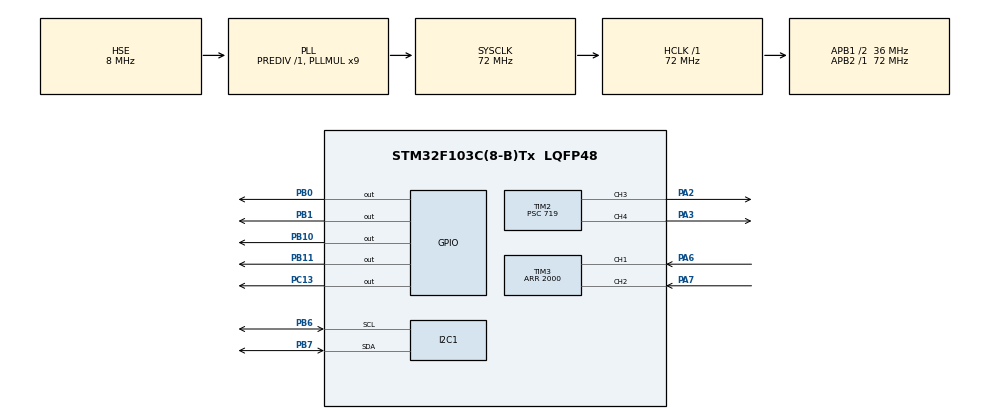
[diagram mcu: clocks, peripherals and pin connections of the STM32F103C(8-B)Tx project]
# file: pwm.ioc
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I2C1.I2C_Mode=I2C_Fast
Mcu.Family=STM32F1
Mcu.Name=STM32F103C(8-B)Tx
Mcu.Package=LQFP48
NVIC.PriorityGroup=NVIC_PRIORITYGROUP_4
NVIC.TIM1_UP_IRQn=true\:0\:0\:false\:false\:true\:true\:true
PA13.Mode=Serial_Wire
PA13.Signal=SYS_JTMS-SWDIO
PA14.Mode=Serial_Wire
PA14.Signal=SYS_JTCK-SWCLK
PA2.Signal=S_TIM2_CH3
PA3.Signal=S_TIM2_CH4
PA6.Signal=S_TIM3_CH1
PA7.Signal=S_TIM3_CH2
PB0.Signal=GPIO_Output
PB1.Signal=GPIO_Output
PB10.Signal=GPIO_Output
PB11.Signal=GPIO_Output
PB6.Mode=I2C
PB6.Signal=I2C1_SCL
PB7.Mode=I2C
PB7.Signal=I2C1_SDA
PC13-TAMPER-RTC.Signal=GPIO_Output
PD0-OSC_IN.Mode=HSE-External-Oscillator
PD0-OSC_IN.Signal=RCC_OSC_IN
PD1-OSC_OUT.Mode=HSE-External-Oscillator
PD1-OSC_OUT.Signal=RCC_OSC_OUT
ProjectManager.HeapSize=0x200
ProjectManager.StackSize=0x400
ProjectManager.TargetToolchain=STM32CubeIDE
RCC.AHBFreq_Value=72000000
RCC.APB1CLKDivider=RCC_HCLK_DIV2
RCC.APB1Freq_Value=36000000
RCC.APB1TimFreq_Value=72000000
RCC.APB2Freq_Value=72000000
RCC.APB2TimFreq_Value=72000000
RCC.HCLKFreq_Value=72000000
RCC.PLLMUL=RCC_PLL_MUL9
RCC.PLLSourceVirtual=RCC_PLLSOURCE_HSE
RCC.SYSCLKFreq_VALUE=72000000
RCC.SYSCLKSource=RCC_SYSCLKSOURCE_PLLCLK
RCC.USBFreq_Value=72000000
SH.S_TIM2_CH3.0=TIM2_CH3,PWM Generation3 CH3
SH.S_TIM2_CH4.0=TIM2_CH4,PWM Generation4 CH4
SH.S_TIM3_CH1.0=TIM3_CH1,Encoder_Interface
SH.S_TIM3_CH2.0=TIM3_CH2,Encoder_Interface
TIM1.Period=100
TIM1.Prescaler=719
TIM2.Channel-PWM\ Generation3\ CH3=TIM_CHANNEL_3
TIM2.Channel-PWM\ Generation4\ CH4=TIM_CHANNEL_4
TIM2.Period=32
TIM2.Prescaler=719
TIM3.Period=2000
VP_TIM1_VS_ClockSourceINT.Mode=Internal
board=custom

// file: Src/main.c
/* USER CODE BEGIN Header */
/**
  ******************************************************************************
  * @file           : main.c
  * @brief          : Main program body
  ******************************************************************************
  * @attention
  *
  * <h2><center>&copy; Copyright (c) 2019 STMicroelectronics.
  * All rights reserved.</center></h2>
  *
  * This software component is licensed by ST under BSD 3-Clause license,
  * the "License"; You may not use this file except in compliance with the
  * License. You may obtain a copy of the License at:
  *                        opensource.org/licenses/BSD-3-Clause
  *
  ******************************************************************************
  */
/* USER CODE END Header */

#include "main.h"

/* USER CODE BEGIN Includes */
#include "mpu6050.h"
#include "PID.h"
/* USER CODE END Includes */

I2C_HandleTypeDef hi2c1;

TIM_HandleTypeDef htim1;
TIM_HandleTypeDef htim2;
TIM_HandleTypeDef htim3;

void SystemClock_Config(void);
static void MX_GPIO_Init(void);
static void MX_TIM2_Init(void);
static void MX_TIM3_Init(void);
static void MX_I2C1_Init(void);
static void MX_TIM1_Init(void);

/* USER CODE BEGIN 0 */

    volatile int duty = 36;
    volatile int duty_1 = 36;
    int pwm = 0;
	void PWM_Control_1(float duty){

		if(duty > 0){

		  HAL_GPIO_WritePin(GPIOB,GPIO_PIN_10,GPIO_PIN_RESET);
		  HAL_GPIO_WritePin(GPIOB,GPIO_PIN_11,GPIO_PIN_SET);

		}
		else{
			duty = -duty;
		  HAL_GPIO_WritePin(GPIOB,GPIO_PIN_10,GPIO_PIN_SET);
		  HAL_GPIO_WritePin(GPIOB,GPIO_PIN_11,GPIO_PIN_RESET);
		}

		  __HAL_TIM_SET_COMPARE(&htim2, TIM_CHANNEL_3, duty  );

	}

	void PWM_Control_2(float duty){
		if(duty > 0){

			  HAL_GPIO_WritePin(GPIOB,GPIO_PIN_1,GPIO_PIN_SET);
			  HAL_GPIO_WritePin(GPIOB,GPIO_PIN_0,GPIO_PIN_RESET);

		}
		else{
			duty = -duty;
		  HAL_GPIO_WritePin(GPIOB,GPIO_PIN_1,GPIO_PIN_RESET);
		  HAL_GPIO_WritePin(GPIOB,GPIO_PIN_0,GPIO_PIN_SET);
		}
		__HAL_TIM_SET_COMPARE(&htim2, TIM_CHANNEL_4, duty );

	}

	  void HAL_TIM_PeriodElapsedCallback(TIM_HandleTypeDef *htim)
	  {
	      if (__HAL_TIM_GET_IT_SOURCE(&htim1,TIM_IT_UPDATE)) {
	    	 // pre_com_angle = com_angle; // đạo hàm, lúc trước khi lấy mẫu cái hiện tại đã thành cái mới
	    	  process_MPU();
//	    	  float angle_1 = (com_angle-2.4);

	    	  duty = PID((0),com_angle);
	    	  	  PWM_Control_1(duty);
	    	  	  PWM_Control_2(duty);
	    	  if((com_angle>60)||(com_angle<(-60)))
	    			  {
	    		  PWM_Control_1(0);
	    		  PWM_Control_2(0);
	    			  }

	  }
	  }
/* USER CODE END 0 */

int main(void)
{

  /* MCU Configuration--------------------------------------------------------*/

  /* Reset of all peripherals, Initializes the Flash interface and the Systick. */  HAL_Init();

  /* Configure the system clock */
  SystemClock_Config();

  /* Initialize all configured peripherals */
  MX_GPIO_Init();
  MX_TIM2_Init();
  MX_TIM3_Init();
  MX_I2C1_Init();
  MX_TIM1_Init();

  /* Infinite loop */
  /* USER CODE BEGIN WHILE */
  HAL_TIM_PWM_Start(&htim2,TIM_CHANNEL_3);
  HAL_TIM_PWM_Start(&htim2,TIM_CHANNEL_4);
  HAL_TIM_Base_Start_IT(&htim1);
  //HAL_TIM_Encoder_Start(&htim3,TIM_CHANNEL_1);
  //HAL_TIM_Encoder_Start(&htim3,TIM_CHANNEL_2);
  HAL_Delay(2000);
 init_MPU();
  while (1)
  {

    /* USER CODE END WHILE */
    /* USER CODE BEGIN 3 */
//if((com_angle<(-4))||((4)<com_angle))
//{

//}
  }
  /* USER CODE END 3 */
}

void SystemClock_Config(void)
{
  RCC_OscInitTypeDef RCC_OscInitStruct = {0};
  RCC_ClkInitTypeDef RCC_ClkInitStruct = {0};

  /** Initializes the CPU, AHB and APB busses clocks
  */
  RCC_OscInitStruct.OscillatorType = RCC_OSCILLATORTYPE_HSE;
  RCC_OscInitStruct.HSEState = RCC_HSE_ON;
  RCC_OscInitStruct.HSEPredivValue = RCC_HSE_PREDIV_DIV1;
  RCC_OscInitStruct.HSIState = RCC_HSI_ON;
  RCC_OscInitStruct.PLL.PLLState = RCC_PLL_ON;
  RCC_OscInitStruct.PLL.PLLSource = RCC_PLLSOURCE_HSE;
  RCC_OscInitStruct.PLL.PLLMUL = RCC_PLL_MUL9;
  if (HAL_RCC_OscConfig(&RCC_OscInitStruct) != HAL_OK)
  {
    Error_Handler();
  }
  /** Initializes the CPU, AHB and APB busses clocks
  */
  RCC_ClkInitStruct.ClockType = RCC_CLOCKTYPE_HCLK|RCC_CLOCKTYPE_SYSCLK
                              |RCC_CLOCKTYPE_PCLK1|RCC_CLOCKTYPE_PCLK2;
  RCC_ClkInitStruct.SYSCLKSource = RCC_SYSCLKSOURCE_PLLCLK;
  RCC_ClkInitStruct.AHBCLKDivider = RCC_SYSCLK_DIV1;
  RCC_ClkInitStruct.APB1CLKDivider = RCC_HCLK_DIV2;
  RCC_ClkInitStruct.APB2CLKDivider = RCC_HCLK_DIV1;

  if (HAL_RCC_ClockConfig(&RCC_ClkInitStruct, FLASH_LATENCY_2) != HAL_OK)
  {
    Error_Handler();
  }
}

static void MX_I2C1_Init(void)
{

  hi2c1.Instance = I2C1;
  hi2c1.Init.ClockSpeed = 400000;
  hi2c1.Init.DutyCycle = I2C_DUTYCYCLE_2;
  hi2c1.Init.OwnAddress1 = 0;
  hi2c1.Init.AddressingMode = I2C_ADDRESSINGMODE_7BIT;
  hi2c1.Init.DualAddressMode = I2C_DUALADDRESS_DISABLE;
  hi2c1.Init.OwnAddress2 = 0;
  hi2c1.Init.GeneralCallMode = I2C_GENERALCALL_DISABLE;
  hi2c1.Init.NoStretchMode = I2C_NOSTRETCH_DISABLE;
  if (HAL_I2C_Init(&hi2c1) != HAL_OK)
  {
    Error_Handler();
  }

}

static void MX_TIM1_Init(void)
{

  TIM_ClockConfigTypeDef sClockSourceConfig = {0};
  TIM_MasterConfigTypeDef sMasterConfig = {0};

  htim1.Instance = TIM1;
  htim1.Init.Prescaler = 7199;
  htim1.Init.CounterMode = TIM_COUNTERMODE_UP;
  htim1.Init.Period = 11;
  htim1.Init.ClockDivision = TIM_CLOCKDIVISION_DIV1;
  htim1.Init.RepetitionCounter = 0;
  htim1.Init.AutoReloadPreload = TIM_AUTORELOAD_PRELOAD_DISABLE;
  if (HAL_TIM_Base_Init(&htim1) != HAL_OK)
  {
    Error_Handler();
  }
  sClockSourceConfig.ClockSource = TIM_CLOCKSOURCE_INTERNAL;
  if (HAL_TIM_ConfigClockSource(&htim1, &sClockSourceConfig) != HAL_OK)
  {
    Error_Handler();
  }
  sMasterConfig.MasterOutputTrigger = TIM_TRGO_RESET;
  sMasterConfig.MasterSlaveMode = TIM_MASTERSLAVEMODE_DISABLE;
  if (HAL_TIMEx_MasterConfigSynchronization(&htim1, &sMasterConfig) != HAL_OK)
  {
    Error_Handler();
  }

}

static void MX_TIM2_Init(void)
{

  TIM_MasterConfigTypeDef sMasterConfig = {0};
  TIM_OC_InitTypeDef sConfigOC = {0};

  htim2.Instance = TIM2;
  htim2.Init.Prescaler = 0;
  htim2.Init.CounterMode = TIM_COUNTERMODE_UP;
  htim2.Init.Period = 719;
  htim2.Init.ClockDivision = TIM_CLOCKDIVISION_DIV1;
  htim2.Init.AutoReloadPreload = TIM_AUTORELOAD_PRELOAD_DISABLE;
  if (HAL_TIM_PWM_Init(&htim2) != HAL_OK)
  {
    Error_Handler();
  }
  sMasterConfig.MasterOutputTrigger = TIM_TRGO_RESET;
  sMasterConfig.MasterSlaveMode = TIM_MASTERSLAVEMODE_DISABLE;
  if (HAL_TIMEx_MasterConfigSynchronization(&htim2, &sMasterConfig) != HAL_OK)
  {
    Error_Handler();
  }
  sConfigOC.OCMode = TIM_OCMODE_PWM1;
  sConfigOC.Pulse = 0;
  sConfigOC.OCPolarity = TIM_OCPOLARITY_HIGH;
  sConfigOC.OCFastMode = TIM_OCFAST_DISABLE;
  if (HAL_TIM_PWM_ConfigChannel(&htim2, &sConfigOC, TIM_CHANNEL_3) != HAL_OK)
  {
    Error_Handler();
  }
  if (HAL_TIM_PWM_ConfigChannel(&htim2, &sConfigOC, TIM_CHANNEL_4) != HAL_OK)
  {
    Error_Handler();
  }
  HAL_TIM_MspPostInit(&htim2);

}

static void MX_TIM3_Init(void)
{

  TIM_Encoder_InitTypeDef sConfig = {0};
  TIM_MasterConfigTypeDef sMasterConfig = {0};

  htim3.Instance = TIM3;
  htim3.Init.Prescaler = 0;
  htim3.Init.CounterMode = TIM_COUNTERMODE_UP;
  htim3.Init.Period = 2000;
  htim3.Init.ClockDivision = TIM_CLOCKDIVISION_DIV1;
  htim3.Init.AutoReloadPreload = TIM_AUTORELOAD_PRELOAD_DISABLE;
  sConfig.EncoderMode = TIM_ENCODERMODE_TI1;
  sConfig.IC1Polarity = TIM_ICPOLARITY_RISING;
  sConfig.IC1Selection = TIM_ICSELECTION_DIRECTTI;
  sConfig.IC1Prescaler = TIM_ICPSC_DIV1;
  sConfig.IC1Filter = 0;
  sConfig.IC2Polarity = TIM_ICPOLARITY_RISING;
  sConfig.IC2Selection = TIM_ICSELECTION_DIRECTTI;
  sConfig.IC2Prescaler = TIM_ICPSC_DIV1;
  sConfig.IC2Filter = 0;
  if (HAL_TIM_Encoder_Init(&htim3, &sConfig) != HAL_OK)
  {
    Error_Handler();
  }
  sMasterConfig.MasterOutputTrigger = TIM_TRGO_RESET;
  sMasterConfig.MasterSlaveMode = TIM_MASTERSLAVEMODE_DISABLE;
  if (HAL_TIMEx_MasterConfigSynchronization(&htim3, &sMasterConfig) != HAL_OK)
  {
    Error_Handler();
  }

}

static void MX_GPIO_Init(void)
{
  GPIO_InitTypeDef GPIO_InitStruct = {0};

  /* GPIO Ports Clock Enable */
  __HAL_RCC_GPIOC_CLK_ENABLE();
  __HAL_RCC_GPIOD_CLK_ENABLE();
  __HAL_RCC_GPIOA_CLK_ENABLE();
  __HAL_RCC_GPIOB_CLK_ENABLE();

  /*Configure GPIO pin Output Level */
  HAL_GPIO_WritePin(GPIOC, GPIO_PIN_13, GPIO_PIN_RESET);

  /*Configure GPIO pin Output Level */
  HAL_GPIO_WritePin(GPIOB, GPIO_PIN_0|GPIO_PIN_1|GPIO_PIN_10|GPIO_PIN_11, GPIO_PIN_RESET);

  /*Configure GPIO pin : PC13 */
  GPIO_InitStruct.Pin = GPIO_PIN_13;
  GPIO_InitStruct.Mode = GPIO_MODE_OUTPUT_PP;
  GPIO_InitStruct.Pull = GPIO_NOPULL;
  GPIO_InitStruct.Speed = GPIO_SPEED_FREQ_LOW;
  HAL_GPIO_Init(GPIOC, &GPIO_InitStruct);

  /*Configure GPIO pins : PB0 PB1 PB10 PB11 */
  GPIO_InitStruct.Pin = GPIO_PIN_0|GPIO_PIN_1|GPIO_PIN_10|GPIO_PIN_11;
  GPIO_InitStruct.Mode = GPIO_MODE_OUTPUT_PP;
  GPIO_InitStruct.Pull = GPIO_NOPULL;
  GPIO_InitStruct.Speed = GPIO_SPEED_FREQ_LOW;
  HAL_GPIO_Init(GPIOB, &GPIO_InitStruct);

}

void Error_Handler(void)
{
}

/************************ (C) COPYRIGHT STMicroelectronics *****END OF FILE****/
